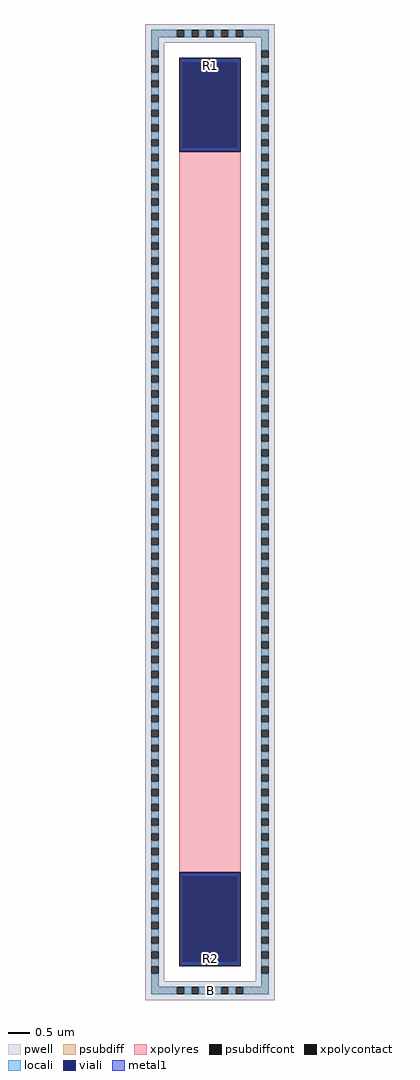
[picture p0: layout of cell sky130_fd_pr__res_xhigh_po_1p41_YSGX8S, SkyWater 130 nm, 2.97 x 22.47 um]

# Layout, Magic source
magic
tech sky130A
magscale 1 2
<< pwell >>
rect -297 2161 297 2247
rect -297 -2161 -211 2161
rect 211 -2161 297 2161
rect -297 -2247 297 -2161
<< psubdiff >>
rect -271 2187 -153 2221
rect -119 2187 -85 2221
rect -51 2187 -17 2221
rect 17 2187 51 2221
rect 85 2187 119 2221
rect 153 2187 271 2221
rect -271 2125 -237 2187
rect 237 2125 271 2187
rect -271 2057 -237 2091
rect -271 1989 -237 2023
rect -271 1921 -237 1955
rect -271 1853 -237 1887
rect -271 1785 -237 1819
rect -271 1717 -237 1751
rect -271 1649 -237 1683
rect -271 1581 -237 1615
rect -271 1513 -237 1547
rect -271 1445 -237 1479
rect -271 1377 -237 1411
rect -271 1309 -237 1343
rect -271 1241 -237 1275
rect -271 1173 -237 1207
rect -271 1105 -237 1139
rect -271 1037 -237 1071
rect -271 969 -237 1003
rect -271 901 -237 935
rect -271 833 -237 867
rect -271 765 -237 799
rect -271 697 -237 731
rect -271 629 -237 663
rect -271 561 -237 595
rect -271 493 -237 527
rect -271 425 -237 459
rect -271 357 -237 391
rect -271 289 -237 323
rect -271 221 -237 255
rect -271 153 -237 187
rect -271 85 -237 119
rect -271 17 -237 51
rect -271 -51 -237 -17
rect -271 -119 -237 -85
rect -271 -187 -237 -153
rect -271 -255 -237 -221
rect -271 -323 -237 -289
rect -271 -391 -237 -357
rect -271 -459 -237 -425
rect -271 -527 -237 -493
rect -271 -595 -237 -561
rect -271 -663 -237 -629
rect -271 -731 -237 -697
rect -271 -799 -237 -765
rect -271 -867 -237 -833
rect -271 -935 -237 -901
rect -271 -1003 -237 -969
rect -271 -1071 -237 -1037
rect -271 -1139 -237 -1105
rect -271 -1207 -237 -1173
rect -271 -1275 -237 -1241
rect -271 -1343 -237 -1309
rect -271 -1411 -237 -1377
rect -271 -1479 -237 -1445
rect -271 -1547 -237 -1513
rect -271 -1615 -237 -1581
rect -271 -1683 -237 -1649
rect -271 -1751 -237 -1717
rect -271 -1819 -237 -1785
rect -271 -1887 -237 -1853
rect -271 -1955 -237 -1921
rect -271 -2023 -237 -1989
rect -271 -2091 -237 -2057
rect 237 2057 271 2091
rect 237 1989 271 2023
rect 237 1921 271 1955
rect 237 1853 271 1887
rect 237 1785 271 1819
rect 237 1717 271 1751
rect 237 1649 271 1683
rect 237 1581 271 1615
rect 237 1513 271 1547
rect 237 1445 271 1479
rect 237 1377 271 1411
rect 237 1309 271 1343
rect 237 1241 271 1275
rect 237 1173 271 1207
rect 237 1105 271 1139
rect 237 1037 271 1071
rect 237 969 271 1003
rect 237 901 271 935
rect 237 833 271 867
rect 237 765 271 799
rect 237 697 271 731
rect 237 629 271 663
rect 237 561 271 595
rect 237 493 271 527
rect 237 425 271 459
rect 237 357 271 391
rect 237 289 271 323
rect 237 221 271 255
rect 237 153 271 187
rect 237 85 271 119
rect 237 17 271 51
rect 237 -51 271 -17
rect 237 -119 271 -85
rect 237 -187 271 -153
rect 237 -255 271 -221
rect 237 -323 271 -289
rect 237 -391 271 -357
rect 237 -459 271 -425
rect 237 -527 271 -493
rect 237 -595 271 -561
rect 237 -663 271 -629
rect 237 -731 271 -697
rect 237 -799 271 -765
rect 237 -867 271 -833
rect 237 -935 271 -901
rect 237 -1003 271 -969
rect 237 -1071 271 -1037
rect 237 -1139 271 -1105
rect 237 -1207 271 -1173
rect 237 -1275 271 -1241
rect 237 -1343 271 -1309
rect 237 -1411 271 -1377
rect 237 -1479 271 -1445
rect 237 -1547 271 -1513
rect 237 -1615 271 -1581
rect 237 -1683 271 -1649
rect 237 -1751 271 -1717
rect 237 -1819 271 -1785
rect 237 -1887 271 -1853
rect 237 -1955 271 -1921
rect 237 -2023 271 -1989
rect 237 -2091 271 -2057
rect -271 -2187 -237 -2125
rect 237 -2187 271 -2125
rect -271 -2221 -153 -2187
rect -119 -2221 -85 -2187
rect -51 -2221 -17 -2187
rect 17 -2221 51 -2187
rect 85 -2221 119 -2187
rect 153 -2221 271 -2187
<< psubdiffcont >>
rect -153 2187 -119 2221
rect -85 2187 -51 2221
rect -17 2187 17 2221
rect 51 2187 85 2221
rect 119 2187 153 2221
rect -271 2091 -237 2125
rect 237 2091 271 2125
rect -271 2023 -237 2057
rect -271 1955 -237 1989
rect -271 1887 -237 1921
rect -271 1819 -237 1853
rect -271 1751 -237 1785
rect -271 1683 -237 1717
rect -271 1615 -237 1649
rect -271 1547 -237 1581
rect -271 1479 -237 1513
rect -271 1411 -237 1445
rect -271 1343 -237 1377
rect -271 1275 -237 1309
rect -271 1207 -237 1241
rect -271 1139 -237 1173
rect -271 1071 -237 1105
rect -271 1003 -237 1037
rect -271 935 -237 969
rect -271 867 -237 901
rect -271 799 -237 833
rect -271 731 -237 765
rect -271 663 -237 697
rect -271 595 -237 629
rect -271 527 -237 561
rect -271 459 -237 493
rect -271 391 -237 425
rect -271 323 -237 357
rect -271 255 -237 289
rect -271 187 -237 221
rect -271 119 -237 153
rect -271 51 -237 85
rect -271 -17 -237 17
rect -271 -85 -237 -51
rect -271 -153 -237 -119
rect -271 -221 -237 -187
rect -271 -289 -237 -255
rect -271 -357 -237 -323
rect -271 -425 -237 -391
rect -271 -493 -237 -459
rect -271 -561 -237 -527
rect -271 -629 -237 -595
rect -271 -697 -237 -663
rect -271 -765 -237 -731
rect -271 -833 -237 -799
rect -271 -901 -237 -867
rect -271 -969 -237 -935
rect -271 -1037 -237 -1003
rect -271 -1105 -237 -1071
rect -271 -1173 -237 -1139
rect -271 -1241 -237 -1207
rect -271 -1309 -237 -1275
rect -271 -1377 -237 -1343
rect -271 -1445 -237 -1411
rect -271 -1513 -237 -1479
rect -271 -1581 -237 -1547
rect -271 -1649 -237 -1615
rect -271 -1717 -237 -1683
rect -271 -1785 -237 -1751
rect -271 -1853 -237 -1819
rect -271 -1921 -237 -1887
rect -271 -1989 -237 -1955
rect -271 -2057 -237 -2023
rect 237 2023 271 2057
rect 237 1955 271 1989
rect 237 1887 271 1921
rect 237 1819 271 1853
rect 237 1751 271 1785
rect 237 1683 271 1717
rect 237 1615 271 1649
rect 237 1547 271 1581
rect 237 1479 271 1513
rect 237 1411 271 1445
rect 237 1343 271 1377
rect 237 1275 271 1309
rect 237 1207 271 1241
rect 237 1139 271 1173
rect 237 1071 271 1105
rect 237 1003 271 1037
rect 237 935 271 969
rect 237 867 271 901
rect 237 799 271 833
rect 237 731 271 765
rect 237 663 271 697
rect 237 595 271 629
rect 237 527 271 561
rect 237 459 271 493
rect 237 391 271 425
rect 237 323 271 357
rect 237 255 271 289
rect 237 187 271 221
rect 237 119 271 153
rect 237 51 271 85
rect 237 -17 271 17
rect 237 -85 271 -51
rect 237 -153 271 -119
rect 237 -221 271 -187
rect 237 -289 271 -255
rect 237 -357 271 -323
rect 237 -425 271 -391
rect 237 -493 271 -459
rect 237 -561 271 -527
rect 237 -629 271 -595
rect 237 -697 271 -663
rect 237 -765 271 -731
rect 237 -833 271 -799
rect 237 -901 271 -867
rect 237 -969 271 -935
rect 237 -1037 271 -1003
rect 237 -1105 271 -1071
rect 237 -1173 271 -1139
rect 237 -1241 271 -1207
rect 237 -1309 271 -1275
rect 237 -1377 271 -1343
rect 237 -1445 271 -1411
rect 237 -1513 271 -1479
rect 237 -1581 271 -1547
rect 237 -1649 271 -1615
rect 237 -1717 271 -1683
rect 237 -1785 271 -1751
rect 237 -1853 271 -1819
rect 237 -1921 271 -1887
rect 237 -1989 271 -1955
rect 237 -2057 271 -2023
rect -271 -2125 -237 -2091
rect 237 -2125 271 -2091
rect -153 -2221 -119 -2187
rect -85 -2221 -51 -2187
rect -17 -2221 17 -2187
rect 51 -2221 85 -2187
rect 119 -2221 153 -2187
<< xpolycontact >>
rect -141 1659 141 2091
rect -141 -2091 141 -1659
<< xpolyres >>
rect -141 -1659 141 1659
<< locali >>
rect -271 2187 -153 2221
rect -119 2187 -85 2221
rect -51 2187 -17 2221
rect 17 2187 51 2221
rect 85 2187 119 2221
rect 153 2187 271 2221
rect -271 2125 -237 2187
rect 237 2125 271 2187
rect -271 2057 -237 2091
rect -271 1989 -237 2023
rect -271 1921 -237 1955
rect -271 1853 -237 1887
rect -271 1785 -237 1819
rect -271 1717 -237 1751
rect -271 1649 -237 1683
rect 237 2057 271 2091
rect 237 1989 271 2023
rect 237 1921 271 1955
rect 237 1853 271 1887
rect 237 1785 271 1819
rect 237 1717 271 1751
rect -271 1581 -237 1615
rect -271 1513 -237 1547
rect -271 1445 -237 1479
rect -271 1377 -237 1411
rect -271 1309 -237 1343
rect -271 1241 -237 1275
rect -271 1173 -237 1207
rect -271 1105 -237 1139
rect -271 1037 -237 1071
rect -271 969 -237 1003
rect -271 901 -237 935
rect -271 833 -237 867
rect -271 765 -237 799
rect -271 697 -237 731
rect -271 629 -237 663
rect -271 561 -237 595
rect -271 493 -237 527
rect -271 425 -237 459
rect -271 357 -237 391
rect -271 289 -237 323
rect -271 221 -237 255
rect -271 153 -237 187
rect -271 85 -237 119
rect -271 17 -237 51
rect -271 -51 -237 -17
rect -271 -119 -237 -85
rect -271 -187 -237 -153
rect -271 -255 -237 -221
rect -271 -323 -237 -289
rect -271 -391 -237 -357
rect -271 -459 -237 -425
rect -271 -527 -237 -493
rect -271 -595 -237 -561
rect -271 -663 -237 -629
rect -271 -731 -237 -697
rect -271 -799 -237 -765
rect -271 -867 -237 -833
rect -271 -935 -237 -901
rect -271 -1003 -237 -969
rect -271 -1071 -237 -1037
rect -271 -1139 -237 -1105
rect -271 -1207 -237 -1173
rect -271 -1275 -237 -1241
rect -271 -1343 -237 -1309
rect -271 -1411 -237 -1377
rect -271 -1479 -237 -1445
rect -271 -1547 -237 -1513
rect -271 -1615 -237 -1581
rect -271 -1683 -237 -1649
rect 237 1649 271 1683
rect 237 1581 271 1615
rect 237 1513 271 1547
rect 237 1445 271 1479
rect 237 1377 271 1411
rect 237 1309 271 1343
rect 237 1241 271 1275
rect 237 1173 271 1207
rect 237 1105 271 1139
rect 237 1037 271 1071
rect 237 969 271 1003
rect 237 901 271 935
rect 237 833 271 867
rect 237 765 271 799
rect 237 697 271 731
rect 237 629 271 663
rect 237 561 271 595
rect 237 493 271 527
rect 237 425 271 459
rect 237 357 271 391
rect 237 289 271 323
rect 237 221 271 255
rect 237 153 271 187
rect 237 85 271 119
rect 237 17 271 51
rect 237 -51 271 -17
rect 237 -119 271 -85
rect 237 -187 271 -153
rect 237 -255 271 -221
rect 237 -323 271 -289
rect 237 -391 271 -357
rect 237 -459 271 -425
rect 237 -527 271 -493
rect 237 -595 271 -561
rect 237 -663 271 -629
rect 237 -731 271 -697
rect 237 -799 271 -765
rect 237 -867 271 -833
rect 237 -935 271 -901
rect 237 -1003 271 -969
rect 237 -1071 271 -1037
rect 237 -1139 271 -1105
rect 237 -1207 271 -1173
rect 237 -1275 271 -1241
rect 237 -1343 271 -1309
rect 237 -1411 271 -1377
rect 237 -1479 271 -1445
rect 237 -1547 271 -1513
rect 237 -1615 271 -1581
rect -271 -1751 -237 -1717
rect -271 -1819 -237 -1785
rect -271 -1887 -237 -1853
rect -271 -1955 -237 -1921
rect -271 -2023 -237 -1989
rect -271 -2091 -237 -2057
rect 237 -1683 271 -1649
rect 237 -1751 271 -1717
rect 237 -1819 271 -1785
rect 237 -1887 271 -1853
rect 237 -1955 271 -1921
rect 237 -2023 271 -1989
rect 237 -2091 271 -2057
rect -271 -2187 -237 -2125
rect 237 -2187 271 -2125
rect -271 -2221 -153 -2187
rect -119 -2221 -85 -2187
rect -51 -2221 -17 -2187
rect 17 -2221 51 -2187
rect 85 -2221 119 -2187
rect 153 -2221 271 -2187
<< viali >>
rect -125 1677 125 2071
rect -125 -2072 125 -1678
<< metal1 >>
rect -131 2071 131 2085
rect -131 1677 -125 2071
rect 125 1677 131 2071
rect -131 1664 131 1677
rect -131 -1678 131 -1664
rect -131 -2072 -125 -1678
rect 125 -2072 131 -1678
rect -131 -2085 131 -2072
<< labels >>
rlabel locali s 0 -2204 0 -2204 4 B
rlabel locali s 0 2056 0 2056 4 R1
rlabel locali s 0 -2056 0 -2056 4 R2
<< properties >>
string FIXED_BBOX -254 -2204 254 2204
<< end >>
